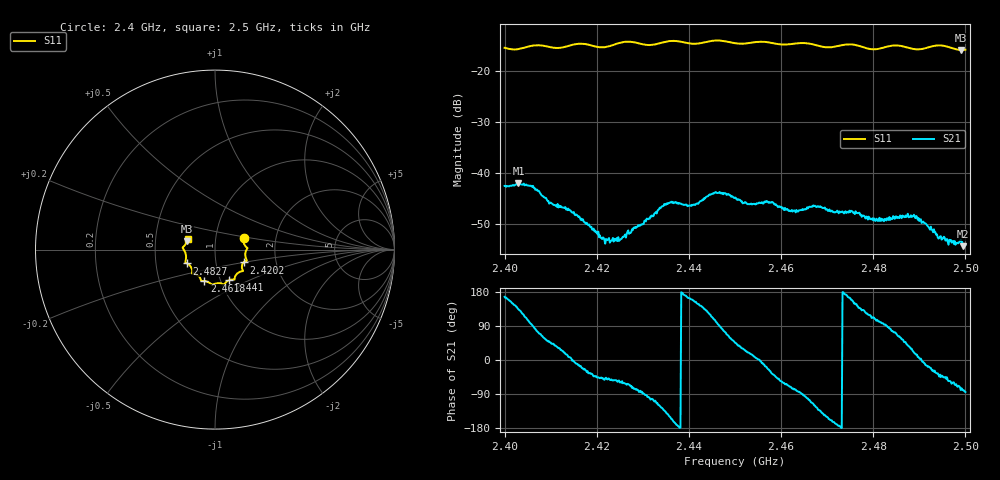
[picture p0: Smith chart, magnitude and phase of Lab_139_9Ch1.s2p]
# Hz S RI R 50
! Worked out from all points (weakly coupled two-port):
!   601 points, 2.4 GHz to 2.5 GHz, reference 50 ohm
!   highest |S21| = -41.99 dB at 2.403 GHz (marker M1); lowest = -54.3 dB at 2.4995 GHz (marker M2)
!   lowest |S11| = -15.8 dB at 2.499 GHz (marker M3), VSWR 1.39, Z = 36.4 + j3.44 ohm
!   |S11| at or under -10 dB: start of sweep to end of sweep
!   S12 and S22 are empty: the file has one direction only
!   S11 on the Smith chart (normalised r, x): 2.4 GHz: 1.36, +0.18; 2.4202 GHz: 1.36, -0.20; 2.441 GHz: 1.10, -0.39; 2.4618 GHz: 0.84, -0.30; 2.4827 GHz: 0.72, -0.11; 2.5 GHz: 0.73, +0.09
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2.4e9  0.159 0.0629  -0.00732 0.00173  0 0  0 0
2.403e9  0.1635 0.0285  -0.0055 0.00574  0 0  0 0
2.406e9  0.1787 0.0107  -0.000198 0.00738  0 0  0 0
2.410167e9  0.1723 -0.00781  0.00373 0.00346  0 0  0 0
2.416667e9  0.1772 -0.0609  0.00338 -0.00118  0 0  0 0
2.420167e9  0.1588 -0.0714  0.00175 -0.00182  0 0  0 0
2.421667e9  0.1512 -0.0838  0.00135 -0.00175  0 0  0 0
2.425e9  0.1542 -0.1135  0.00113 -0.00189  0 0  0 0
2.433333e9  0.1117 -0.1506  -0.0021 -0.00385  0 0  0 0
2.436e9  0.1091 -0.1669  -0.00454 -0.00247  0 0  0 0
2.441e9  0.0788 -0.1697  -0.00453 0.00195  0 0  0 0
2.445667e9  0.0506 -0.1948  -0.00168 0.00626  0 0  0 0
2.45e9  0.0286 -0.1874  0.00402 0.00415  0 0  0 0
2.461833e9  -0.0591 -0.1754  0.00147 -0.00406  0 0  0 0
2.466667e9  -0.0788 -0.1682  -0.0018 -0.00437  0 0  0 0
2.482667e9  -0.1559 -0.077  -0.000215 0.00354  0 0  0 0
2.483333e9  -0.1602 -0.075  0.000222 0.00347  0 0  0 0
2.489e9  -0.1612 -0.0376  0.00357 0.00113  0 0  0 0
2.4945e9  -0.1802 0.0109  0.00187 -0.0015  0 0  0 0
2.499e9  -0.1557 0.046  0.000412 -0.00217  0 0  0 0
2.4995e9  -0.1537 0.0533  0.00033 -0.0019  0 0  0 0
2.5e9  -0.1522 0.0603  0.000189 -0.00197  0 0  0 0
